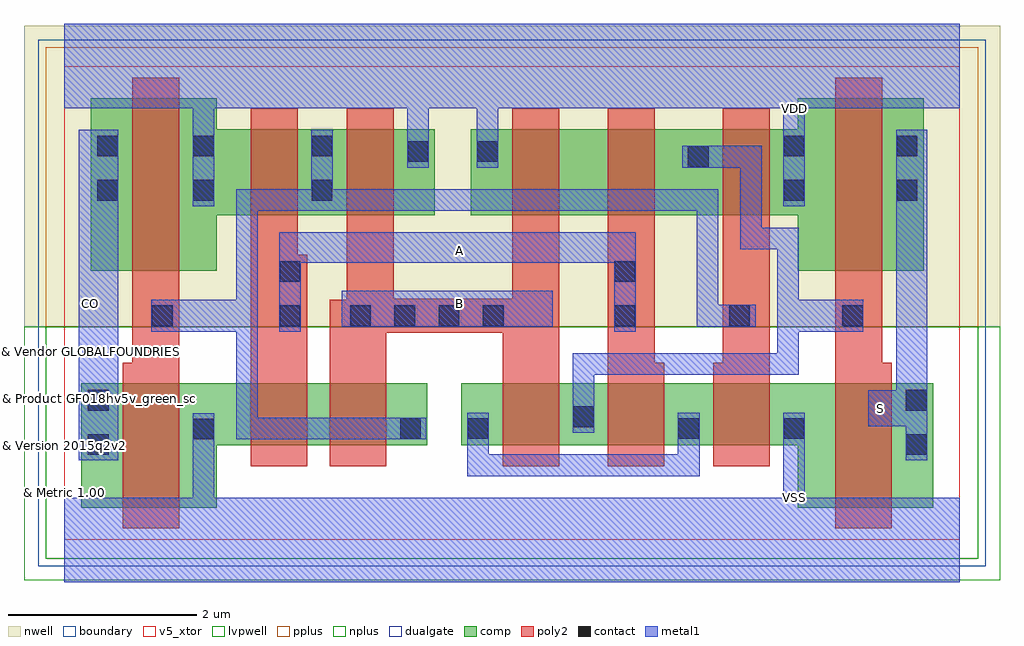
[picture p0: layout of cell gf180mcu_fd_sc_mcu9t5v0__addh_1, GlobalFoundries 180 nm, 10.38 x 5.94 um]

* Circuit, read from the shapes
.subckt gf180mcu_fd_sc_mcu9t5v0__addh_1 A B CO S VDD VSS
XM1 VSS n1 CO VSUBS nfet_05v0 w=1.32u l=0.6u
XM2 n2 A VSS VSUBS nfet_05v0 w=0.66u l=0.6u
XM3 n1 B n2 VSUBS nfet_05v0 w=0.66u l=0.6u
XM4 n3 B n4 VSUBS nfet_05v0 w=0.66u l=0.6u
XM5 n4 A n3 VSUBS nfet_05v0 w=0.66u l=0.6u
XM6 VSS n1 n4 VSUBS nfet_05v0 w=0.66u l=0.6u
XM7 S n3 VSS VSUBS nfet_05v0 w=1.32u l=0.6u
XM8 VDD n1 CO n5 pfet_05v0 w=1.83u l=0.5u
XM9 n1 A VDD n5 pfet_05v0 w=0.915u l=0.5u
XM10 VDD B n1 n5 pfet_05v0 w=0.915u l=0.5u
XM11 n6 B VDD n5 pfet_05v0 w=0.915u l=0.5u
XM12 n3 A n6 n5 pfet_05v0 w=0.915u l=0.5u
XM13 VDD n1 n3 n5 pfet_05v0 w=0.915u l=0.5u
XM14 S n3 VDD n5 pfet_05v0 w=1.83u l=0.5u
.ends

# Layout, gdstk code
import gdstk
lib = gdstk.Library(unit=1e-6, precision=1e-09)
def R(c, l, rs):  # rectangles x0, y0, x1, y1
    for r in rs: c.add(gdstk.rectangle(r[:2], r[2:], *l))
def A(c, l, x, y, w, h, nx, ny, dx, dy):  # array of equal rectangles
    R(c, l, [(x+i*dx, y+j*dy, x+i*dx+w, y+j*dy+h) for i in range(nx) for j in range(ny)])
def P(c, l, *ps):  # polygons
    for p in ps: c.add(gdstk.Polygon(p, *l))
boundary = (0, 0)
nwell = (21, 0)
comp = (22, 0)
poly2 = (30, 0)
pplus = (31, 0)
nplus = (32, 0)
contact = (33, 0)
metal1 = (34, 0)
dualgate = (55, 0)
v5_xtor = (112, 1)
lvpwell = (204, 0)

gf180mcu_fd_sc_mcu9t5v0_ = lib.new_cell('gf180mcu_fd_sc_mcu9t5v0__addh_1')
R(gf180mcu_fd_sc_mcu9t5v0_, boundary, [(0,0,9.52,5.04)])
R(gf180mcu_fd_sc_mcu9t5v0_, nwell, [(-0.43,2.265,9.95,5.47)])
P(gf180mcu_fd_sc_mcu9t5v0_, comp, [(0.18,0.345),(0.18,1.665),(3.86,1.665),(3.86,1.005),(1.62,1.005),(1.62,0.345)],
  [(0.28,2.865),(0.28,4.695),(1.62,4.695),(1.62,4.37),(3.94,4.37),(3.94,3.455),(1.62,3.455),(1.62,2.865)],
  [(7.8,2.865),(7.8,3.455),(4.32,3.455),(4.32,4.37),(7.8,4.37),(7.8,4.695),(9.14,4.695),(9.14,2.865)],
  [(7.8,0.345),(7.8,1.005),(4.22,1.005),(4.22,1.665),(9.24,1.665),(9.24,0.345)])
P(gf180mcu_fd_sc_mcu9t5v0_, poly2, [(0.62,0.125),(0.62,1.885),(0.72,1.885),(0.72,4.915),(1.22,4.915),(1.22,0.125)],
  [(1.98,0.785),(1.98,4.59),(2.48,4.59),(2.48,3.035),(2.58,3.035),(2.58,0.785)],
  [(2.82,0.785),(2.82,2.555),(3,2.555),(3,4.59),(3.5,4.59),(3.5,2.565),(4.76,2.565),(4.76,4.59),(5.26,4.59),(5.26,0.785),(4.66,0.785),(4.66,2.205),(3.42,2.205),(3.42,0.785)],
  [(5.78,0.785),(5.78,4.59),(6.28,4.59),(6.28,1.885),(6.38,1.885),(6.38,0.785)],
  [(6.9,0.785),(6.9,1.885),(7,1.885),(7,4.59),(7.5,4.59),(7.5,0.785)],
  [(8.2,0.125),(8.2,4.915),(8.7,4.915),(8.7,1.885),(8.8,1.885),(8.8,0.125)])
R(gf180mcu_fd_sc_mcu9t5v0_, pplus, [(-0.2,2.265,9.72,5.24)])
R(gf180mcu_fd_sc_mcu9t5v0_, nplus, [(-0.2,-0.2,9.72,2.265)])
A(gf180mcu_fd_sc_mcu9t5v0_, contact, 3.04, 2.275, 0.22, 0.22, 4, 1, 0.47, 0)
R(gf180mcu_fd_sc_mcu9t5v0_, contact, [(0.25,0.905,0.47,1.125), (8.95,0.905,9.17,1.125), (1.37,1.07,1.59,1.29), (3.57,1.075,3.79,1.295), (4.29,1.075,4.51,1.295), (6.53,1.075,6.75,1.295), (7.65,1.075,7.87,1.295), (5.41,1.2,5.63,1.42), (0.25,1.375,0.47,1.595), (8.95,1.375,9.17,1.595), (0.93,2.275,1.15,2.495), (2.29,2.275,2.51,2.495), (5.85,2.275,6.07,2.495), (7.07,2.275,7.29,2.495), (8.27,2.275,8.49,2.495), (2.29,2.745,2.51,2.965), (5.85,2.745,6.07,2.965), (0.35,3.61,0.57,3.83), (1.37,3.61,1.59,3.83), (2.63,3.61,2.85,3.83), (7.65,3.61,7.87,3.83), (8.85,3.61,9.07,3.83), (6.63,3.965,6.85,4.185), (3.65,4.02,3.87,4.24), (4.39,4.02,4.61,4.24), (0.35,4.08,0.57,4.3), (1.37,4.08,1.59,4.3), (2.63,4.08,2.85,4.3), (7.65,4.08,7.87,4.3), (8.85,4.08,9.07,4.3)])
R(gf180mcu_fd_sc_mcu9t5v0_, metal1, [(0.15,0.845,0.575,4.36), (2.95,2.27,5.195,2.65)])
P(gf180mcu_fd_sc_mcu9t5v0_, metal1, [(2.285,2.215),(2.285,3.27),(6.075,3.27),(6.075,2.215),(5.845,2.215),(5.845,2.95),(2.515,2.95),(2.515,2.215)],
  [(4.285,0.68),(4.285,1.355),(4.515,1.355),(4.515,0.91),(6.525,0.91),(6.525,1.355),(6.755,1.355),(6.755,0.68)],
  [(1.825,1.07),(1.825,2.215),(0.925,2.215),(0.925,2.555),(1.825,2.555),(1.825,3.73),(2.625,3.73),(2.625,4.36),(2.855,4.36),(2.855,3.73),(6.955,3.73),(6.955,2.5),(7.35,2.5),(7.35,2.27),(6.725,2.27),(6.725,3.5),(2.055,3.5),(2.055,1.3),(3.85,1.3),(3.85,1.07)],
  [(5.405,1.14),(5.405,1.985),(7.58,1.985),(7.58,3.09),(7.185,3.09),(7.185,3.96),(6.57,3.96),(6.57,4.19),(7.415,4.19),(7.415,3.32),(7.81,3.32),(7.81,2.555),(8.495,2.555),(8.495,2.215),(7.81,2.215),(7.81,1.755),(5.635,1.755),(5.635,1.14)],
  [(8.945,0.845),(8.945,1.21),(8.55,1.21),(8.55,1.59),(8.845,1.59),(8.845,4.36),(9.175,4.36),(9.175,0.845)],
  [(0,-0.45),(0,0.45),(1.365,0.45),(1.365,1.35),(1.595,1.35),(1.595,0.45),(7.645,0.45),(7.645,1.355),(7.875,1.355),(7.875,0.45),(9.52,0.45),(9.52,-0.45)],
  [(1.365,3.55),(1.365,4.59),(0,4.59),(0,5.49),(9.52,5.49),(9.52,4.59),(7.875,4.59),(7.875,3.55),(7.645,3.55),(7.645,4.59),(4.615,4.59),(4.615,3.96),(4.385,3.96),(4.385,4.59),(3.875,4.59),(3.875,3.96),(3.645,3.96),(3.645,4.59),(1.595,4.59),(1.595,3.55)])
R(gf180mcu_fd_sc_mcu9t5v0_, dualgate, [(-0.28,-0.28,9.8,5.32)])
R(gf180mcu_fd_sc_mcu9t5v0_, v5_xtor, [(0,0,9.52,5.04)])
R(gf180mcu_fd_sc_mcu9t5v0_, lvpwell, [(-0.43,-0.43,9.95,2.265)])
gf180mcu_fd_sc_mcu9t5v0_.add(gdstk.Label('A', (4.2,3.08), layer=34, texttype=10))
gf180mcu_fd_sc_mcu9t5v0_.add(gdstk.Label('B', (4.2,2.52), layer=34, texttype=10))
gf180mcu_fd_sc_mcu9t5v0_.add(gdstk.Label('CO', (0.28,2.52), layer=34, texttype=10))
gf180mcu_fd_sc_mcu9t5v0_.add(gdstk.Label('S', (8.68,1.4), layer=34, texttype=10))
gf180mcu_fd_sc_mcu9t5v0_.add(gdstk.Label('VDD', (7.76,4.59), layer=34, texttype=10))
gf180mcu_fd_sc_mcu9t5v0_.add(gdstk.Label('VSS', (7.76,0.45), layer=34, texttype=10))
gf180mcu_fd_sc_mcu9t5v0_.add(gdstk.Label('& Vendor GLOBALFOUNDRIES', (0,2), layer=63, texttype=63))
gf180mcu_fd_sc_mcu9t5v0_.add(gdstk.Label('& Product GF018hv5v_green_sc9', (0,1.5), layer=63, texttype=63))
gf180mcu_fd_sc_mcu9t5v0_.add(gdstk.Label('& Version 2015q2v2', (0,1), layer=63, texttype=63))
gf180mcu_fd_sc_mcu9t5v0_.add(gdstk.Label('& Metric 1.00', (0,0.5), layer=63, texttype=63))

lib.write_gds('gf180mcu_fd_sc_mcu9t5v0__addh_1.gds')
